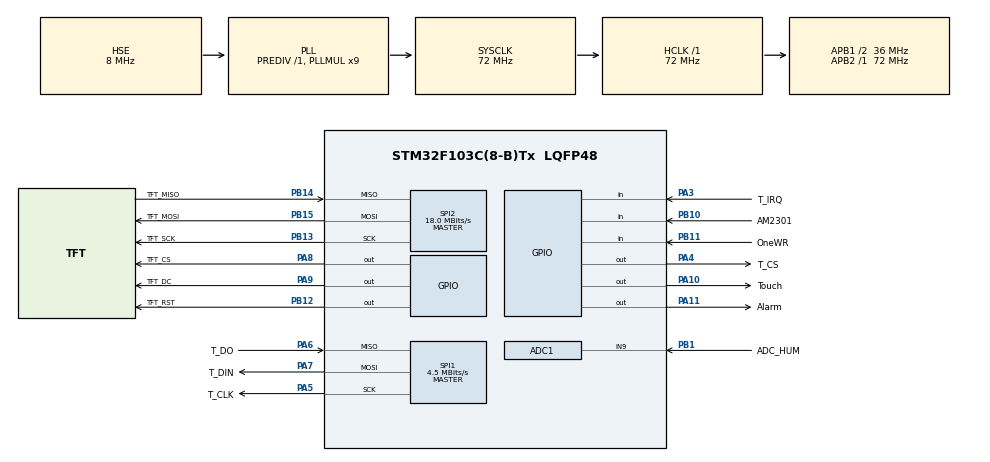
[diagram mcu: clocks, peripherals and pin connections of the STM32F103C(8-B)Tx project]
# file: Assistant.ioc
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Mcu.Family=STM32F1
PA6.Mode=Full_Duplex_Master
SPI1.VirtualType=VM_MASTER
SPI2.VirtualType=VM_MASTER
TIM1.RepetitionCounter=0
PB14.GPIO_Label=TFT_MISO
PA3.GPIO_PuPd=GPIO_PULLUP
VP_RTC_VS_RTC_Activate.Mode=RTC_Enabled
PA6.GPIO_Label=T_DO
NVIC.TIM1_UP_IRQn=true\:0\:0\:false\:false\:true\:true\:true
PB13.GPIO_Label=TFT_SCK
PB11.Signal=GPIO_Input
PB13.Signal=SPI2_SCK
PB15.Signal=SPI2_MOSI
RCC.SYSCLKSource=RCC_SYSCLKSOURCE_PLLCLK
ProjectManager.StackSize=0x400
PD1-OSC_OUT.Signal=RCC_OSC_OUT
NVIC.RTC_IRQn=true\:0\:0\:false\:false\:true\:true\:true
TIM1.Prescaler=719
SPI1.Direction=SPI_DIRECTION_2LINES
RCC.HCLKFreq_Value=72000000
RCC.APB2TimFreq_Value=72000000
PB12.PinState=GPIO_PIN_RESET
SPI1.CalculateBaudRate=4.5 MBits/s
RCC.AHBFreq_Value=72000000
SPI2.BaudRatePrescaler=SPI_BAUDRATEPRESCALER_2
ADC1.Channel-0\#ChannelRegularConversion=ADC_CHANNEL_9
RCC.RTCClockSelection=RCC_RTCCLKSOURCE_LSE
RCC.PLLMUL=RCC_PLL_MUL9
PA4.GPIO_Speed=GPIO_SPEED_FREQ_HIGH
PB12.GPIO_Label=TFT_RST
PC14-OSC32_IN.Mode=LSE-External-Oscillator
PA14.Mode=Serial_Wire
PB14.Mode=Full_Duplex_Master
PB1.GPIO_Label=ADC_HUM
NVIC.TIM2_IRQn=true\:0\:0\:false\:false\:true\:true\:true
PA10.GPIO_Label=Touch
SPI2.CalculateBaudRate=18.0 MBits/s
PA8.Signal=GPIO_Output
VP_TIM1_VS_ClockSourceINT.Mode=Internal
ADC1.SamplingTime-0\#ChannelRegularConversion=ADC_SAMPLETIME_239CYCLES_5
Mcu.Package=LQFP48
TIM2.Prescaler=1999
PB1.Signal=ADCx_IN9
PA6.Signal=SPI1_MISO
SPI2.Mode=SPI_MODE_MASTER
PA10.Signal=GPIO_Output
SH.ADCx_IN9.0=ADC1_IN9,IN9
TIM2.TIM_MasterOutputTrigger=TIM_TRGO_UPDATE
RCC.APB1TimFreq_Value=72000000
SPI2.Direction=SPI_DIRECTION_2LINES
TIM1.Period=999
PB13.Mode=Full_Duplex_Master
SPI1.BaudRatePrescaler=SPI_BAUDRATEPRESCALER_16
PA4.GPIO_Label=T_CS
PA8.GPIO_Speed=GPIO_SPEED_FREQ_HIGH
PA3.Signal=GPIO_Input
PA5.Mode=Full_Duplex_Master
RCC.PLLSourceVirtual=RCC_PLLSOURCE_HSE
PC15-OSC32_OUT.Mode=LSE-External-Oscillator
ADC1.Rank-0\#ChannelRegularConversion=1
PA7.Mode=Full_Duplex_Master
PD1-OSC_OUT.Mode=HSE-External-Oscillator
PA9.GPIO_Label=TFT_DC
PB11.GPIO_Label=OneWR
PA11.GPIO_Label=Alarm
PD0-OSC_IN.Signal=RCC_OSC_IN
RCC.APB1CLKDivider=RCC_HCLK_DIV2
PC14-OSC32_IN.Signal=RCC_OSC32_IN
RCC.ADCPresc=RCC_ADCPCLK2_DIV6
PA13.Signal=SYS_JTMS-SWDIO
PA8.GPIO_Label=TFT_CS
PA4.PinState=GPIO_PIN_SET
ProjectManager.TargetToolchain=MDK-ARM V5
PB10.GPIO_Label=AM2301
PA9.Signal=GPIO_Output
PA9.PinState=GPIO_PIN_RESET
RTC.Format=RTC_FORMAT_BIN
RCC.USBFreq_Value=72000000
PC15-OSC32_OUT.Signal=RCC_OSC32_OUT
PB12.GPIO_Speed=GPIO_SPEED_FREQ_HIGH
PD0-OSC_IN.Mode=HSE-External-Oscillator
PB10.Signal=GPIO_Input
PB14.Signal=SPI2_MISO
PA5.Signal=SPI1_SCK
board=custom
PB15.Mode=Full_Duplex_Master
RCC.APB2Freq_Value=72000000
PB15.GPIO_Label=TFT_MOSI
VP_TIM2_VS_ClockSourceINT.Mode=Internal
SPI1.Mode=SPI_MODE_MASTER
TIM2.Period=7199
PA13.Mode=Serial_Wire
Mcu.Name=STM32F103C(8-B)Tx
PA4.Signal=GPIO_Output
RCC.SYSCLKFreq_VALUE=72000000
PA7.GPIO_Label=T_DIN
ADC1.master=1
PA5.GPIO_Label=T_CLK
PA11.Signal=GPIO_Output
PA14.Signal=SYS_JTCK-SWCLK
ProjectManager.HeapSize=0x200
NVIC.PriorityGroup=NVIC_PRIORITYGROUP_4
ADC1.NbrOfConversionFlag=1
PA9.GPIO_Speed=GPIO_SPEED_FREQ_HIGH
RCC.APB1Freq_Value=36000000
PA11.PinState=GPIO_PIN_SET
PB12.Signal=GPIO_Output
PA3.GPIO_Label=T_IRQ
PA7.Signal=SPI1_MOSI

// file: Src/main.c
/* USER CODE BEGIN Header */
/**
  ******************************************************************************
  * @file           : main.c
  * @brief          : Main program body
  ******************************************************************************
  * @attention
  *
  * <h2><center>&copy; Copyright (c) 2023 STMicroelectronics.
  * All rights reserved.</center></h2>
  *
  * This software component is licensed by ST under BSD 3-Clause license,
  * the "License"; You may not use this file except in compliance with the
  * License. You may obtain a copy of the License at:
  *                        opensource.org/licenses/BSD-3-Clause
  *
  ******************************************************************************
  */
/* USER CODE END Header */

#include "main.h"

/* USER CODE BEGIN Includes */
#include <stdio.h>
#include <stdlib.h>
#include "tft_proc.h"
#include "ili9341_touch.h"
#include "ds18b20.h"
#include "displ_as.h"
#include "displ_adc.h"
#include "buttons.h"
#include "my.h"
/* USER CODE END Includes */

ADC_HandleTypeDef hadc1;

RTC_HandleTypeDef hrtc;

SPI_HandleTypeDef hspi1;
SPI_HandleTypeDef hspi2;

TIM_HandleTypeDef htim1;
TIM_HandleTypeDef htim2;

/* USER CODE BEGIN PV */
const float A1=1.6, A2=0.64, A3=0.04;  // a=0.8 (A1=2a; A2=a^2; A3=(1-a)^2)
char txt[10], buffTFT[60];
volatile uint8_t displ_num=0, newButt=1, ticTimer, ticTouch, show, showADC, Y_txt=5, X_left=5, Y_top, Y_bottom=ILI9341_HEIGHT-22, buttonAmount, secTick, scale=1;
uint8_t noname, fc20H, fc28H, familycode[MAX_DEVICE][8]={0};
int8_t oneWire_amount, dht_amount, ds18b20_num, ds2450_num, numSet=0, numDate=0, newDate=0;
volatile int8_t resetDispl=0;
int8_t newcorrection, correction[MAX_DEVICE];
int16_t result[MAX_DEVICE]={199}, max_t, min_t, midl_t, val_t, pvT, pvRH;
uint16_t touch_x, touch_y;
uint16_t fillScreen = ILI9341_BLACK;
extern uint16_t prescale;
uint32_t checkButt;
float PVold1, PVold2;
struct ram_structure {int x,y; char w,h;} buttons[4];
/* USER CODE END PV */

void SystemClock_Config(void);
static void MX_GPIO_Init(void);
static void MX_SPI2_Init(void);
static void MX_SPI1_Init(void);
static void MX_TIM1_Init(void);
static void MX_RTC_Init(void);
static void MX_ADC1_Init(void);
static void MX_TIM2_Init(void);
/* USER CODE BEGIN PFP */
void home_screen(void);
/* USER CODE END PFP */

/* USER CODE BEGIN 0 */
void HAL_TIM_PeriodElapsedCallback(TIM_HandleTypeDef *htim){
  if(htim->Instance == TIM1){ //check if the interrupt comes from TIM1 (10 ms)
    checkButt++;
    if (ticTouch){ --ticTouch; HAL_GPIO_WritePin(Touch_GPIO_Port, Touch_Pin, GPIO_PIN_SET);}// pressure indication
    else {HAL_GPIO_WritePin(Touch_GPIO_Port, Touch_Pin, GPIO_PIN_RESET);}
//    if (ticTimer){ --ticTimer;
//      if (set[3]&1) HAL_GPIO_WritePin(Alarm_GPIO_Port, Alarm_Pin, GPIO_PIN_SET); // turn on the alarm
//    }
//    else HAL_GPIO_WritePin(Alarm_GPIO_Port, Alarm_Pin, GPIO_PIN_RESET);
  }
  if(htim->Instance == TIM1){
    if(prescale){__HAL_TIM_SET_PRESCALER(&htim2, prescale); prescale = 0;}
  }
}
uint16_t LowPassF2(uint16_t pv){
float val;
  val = A1*PVold1-A2*PVold2+A3*pv;
  PVold2 = PVold1;
  PVold1 = val;
  return val;
};
/* USER CODE END 0 */

int main(void)
{

  /* MCU Configuration--------------------------------------------------------*/

  /* Reset of all peripherals, Initializes the Flash interface and the Systick. */
  HAL_Init();

  /* Configure the system clock */
  SystemClock_Config();

  /* Initialize all configured peripherals */
  MX_GPIO_Init();
  MX_SPI2_Init();
  MX_SPI1_Init();
  MX_TIM1_Init();
  MX_RTC_Init();
  MX_ADC1_Init();
  MX_TIM2_Init();
  /* USER CODE BEGIN 2 */
  //----------------------------------------------------------------------------
  // Инициализация модуля DWT (Data Watchpoint and Trace) для STM32.
  // Используется для организации сверхточных микросекундных задержек через
  // аппаратный счетчик тактов процессора (CYCCNT). Это критически важно для
  // соблюдения таймингов протокола 1-Wire (DS18B20).
  //----------------------------------------------------------------------------
  CoreDebug->DEMCR |= CoreDebug_DEMCR_TRCENA_Msk; // Разрешаем использование Trace-модуля
  DWT->CYCCNT = 0;                                // Сброс счетчика
  DWT->CTRL |= DWT_CTRL_CYCCNTENA_Msk;            // Включаем счетчик циклов

  //-------------------------------------   -----------
  uint8_t item;
  uint16_t adcVal;
  float uVal;
//------------------------------------- Triggering interrupts -----------
  HAL_TIM_Base_Start_IT(&htim1);          /* ------  Timer 100 Hz. Period 10 ms.  ----*/
  HAL_TIM_Base_Start_IT(&htim2);          /* ------  Timer 5 Hz. Period 200 ms.  ----*/
  HAL_RTCEx_SetSecond_IT(&hrtc);          // Sets Interrupt for second
  HAL_ADCEx_Calibration_Start(&hadc1);    // ADC calibration
//  HAL_GPIO_WritePin(GPIOA, Alarm_Pin, GPIO_PIN_SET);  // LED_PC13=OFF

  TFT_init();
  home_screen();                      // checking connected sensors
  ILI9341_FillScreen(fillScreen);     // Screen cleaning
  /* USER CODE END 2 */

  /* Infinite loop */
  /* USER CODE BEGIN WHILE */
  secTick = 0;
  show = 0;
//  MX_IWDG_Init();                 // initialization Watchdog (3 sec.)
  while (1){
//    HAL_IWDG_Refresh(&hiwdg);     // update Watchdog
    Y_txt = 5; X_left = 5;        // Y_top = Y_txt;
    if(fc20H){                    // DS2450
        //------------------------------------- TOUCHSCREEN ---------------------------
        if (ILI9341_TouchPressed()&& checkButt>40){
//          ILI9341_WriteString(X_left, Y_bottom - 22, "TouchPressed!", Font_11x18, ILI9341_MAGENTA, fillScreen);
          if(ILI9341_TouchGetCoordinates(&touch_x, &touch_y)){
              for (item=0; item<buttonAmount; item++){
                  if(contains(touch_x, touch_y, item)) break; // checking whether the new coordinate falls within the button area
              }
              checkButtons_ADC(item); // button press check
              displADC();     // display of ADC information
          }
          checkButt = 0;
        }
        if(showADC){
            showADC = 0;
            DS2450_check();
            displADC();     // display of ADC information
        }
    }
    else if(show){
        show = 0;
//        HAL_GPIO_TogglePin(GPIOA, Alarm_Pin);  // LED_PC13=TogglePin
        if(fc28H){                        // DS18b20
            //------------------------------------- TOUCHSCREEN ---------------------------
            if(ILI9341_TouchPressed()&& checkButt>40){
              //ILI9341_WriteString(X_left, Y_bottom - 22, "TouchPressed!", Font_11x18, ILI9341_MAGENTA, fillScreen);
              if(ILI9341_TouchGetCoordinates(&touch_x, &touch_y)){
                  for (item=0; item<buttonAmount; item++){
                      if(contains(touch_x, touch_y, item)) break; // checking whether the new coordinate falls within the button area
                  }
                  checkButtons_as(item); // button press check
                  if (displ_num) resetDispl=60; else resetDispl = 0;
              }
              checkButt = 0;
            }
            //------------------------------------- MAIN screen ---------------------------
            //-------- show, secTick are changed in function handles RTC global interrupt -> {void RTC_IRQHandler(void)} in file "stm32f1xx_it.c"
            temperature_check();  // temperature measurement
            display_as();         // display of information
        }
        else {
            item = readDHT(0);        // DHT-21 connected by line 1 Wire
            if(item){
                sprintf(buffTFT,"1Wt=%.1f  Rh=%.1f%% ",(float)pvT/10,(float)pvRH/10);
                ILI9341_WriteString(5, Y_txt, buffTFT, Font_16x26, ILI9341_CYAN, ILI9341_BLACK);
                Y_txt = Y_txt+26+8;
            }
        }
        if(fc28H < 9 && displ_num == 0){
            item = readDHT(1);            // DHT-21 connected by line AM2301
            if (item){
              sprintf(buffTFT,"Amt=%.1f  Rh=%.1f%% ",(float)pvT/10,(float)pvRH/10);
              ILI9341_WriteString(5, Y_txt, buffTFT, Font_16x26, ILI9341_CYAN, ILI9341_BLACK);
              Y_txt = Y_txt+26+8;
            }
            HAL_ADC_Start(&hadc1);
            HAL_ADC_PollForConversion(&hadc1,100);
            adcVal = ((float)HAL_ADC_GetValue(&hadc1));
            HAL_ADC_Stop(&hadc1);
            uVal = (float)adcVal*VSENSE;
            if(X_left>100){Y_txt = Y_txt+26+8; X_left=5;}
            if (adcVal > 500){
              if (PVold1==0) PVold2 = PVold1 = adcVal;
              else adcVal = LowPassF2(adcVal);

              if (uVal > 0.8) sprintf(buffTFT,"V=%.3f   RH=%.1f%% ",uVal,(uVal/VSUPPLY-0.1515)/0.00636);
              else sprintf(buffTFT,"V=%.3f   RH=0%%  ",uVal);
              ILI9341_WriteString(5, Y_txt, buffTFT, Font_16x26, ILI9341_CYAN, ILI9341_BLACK);
            }
//            else if(adcVal > 0) {
//              sprintf(buffTFT,"ADC=%4u  V=%.3f",adcVal, uVal);
//              ILI9341_WriteString(5, Y_txt, buffTFT, Font_16x26, ILI9341_CYAN, ILI9341_BLACK);
//            }
            else {
              ILI9341_WriteString(5, Y_txt, "                   ", Font_16x26, ILI9341_CYAN, ILI9341_BLACK);
            }
            if(fc28H==0){
              ILI9341_FillRectangle(42, 98, 100, 22, ILI9341_BLACK);
              ILI9341_WriteString(45, 100, "Датчикыв не знайдено!", Font_11x18, ILI9341_RED, ILI9341_BLACK);
              Y_txt = Y_txt+18+5;
              HAL_Delay(700);
              ILI9341_FillScreen(fillScreen);
              oneWire_count(MAX_DEVICE);       // We check for the presence of sensors; if item = 0, sensors are found.
              if(fc28H) newButt = 1;
            }
        }
    }
    /* USER CODE END WHILE */

  }
}

void SystemClock_Config(void)
{
  RCC_OscInitTypeDef RCC_OscInitStruct = {0};
  RCC_ClkInitTypeDef RCC_ClkInitStruct = {0};
  RCC_PeriphCLKInitTypeDef PeriphClkInit = {0};

  /** Initializes the CPU, AHB and APB busses clocks
  */
  RCC_OscInitStruct.OscillatorType = RCC_OSCILLATORTYPE_HSE|RCC_OSCILLATORTYPE_LSE;
  RCC_OscInitStruct.HSEState = RCC_HSE_ON;
  RCC_OscInitStruct.HSEPredivValue = RCC_HSE_PREDIV_DIV1;
  RCC_OscInitStruct.LSEState = RCC_LSE_ON;
  RCC_OscInitStruct.HSIState = RCC_HSI_ON;
  RCC_OscInitStruct.PLL.PLLState = RCC_PLL_ON;
  RCC_OscInitStruct.PLL.PLLSource = RCC_PLLSOURCE_HSE;
  RCC_OscInitStruct.PLL.PLLMUL = RCC_PLL_MUL9;
  if (HAL_RCC_OscConfig(&RCC_OscInitStruct) != HAL_OK)
  {
    Error_Handler();
  }
  /** Initializes the CPU, AHB and APB busses clocks
  */
  RCC_ClkInitStruct.ClockType = RCC_CLOCKTYPE_HCLK|RCC_CLOCKTYPE_SYSCLK
                              |RCC_CLOCKTYPE_PCLK1|RCC_CLOCKTYPE_PCLK2;
  RCC_ClkInitStruct.SYSCLKSource = RCC_SYSCLKSOURCE_PLLCLK;
  RCC_ClkInitStruct.AHBCLKDivider = RCC_SYSCLK_DIV1;
  RCC_ClkInitStruct.APB1CLKDivider = RCC_HCLK_DIV2;
  RCC_ClkInitStruct.APB2CLKDivider = RCC_HCLK_DIV1;

  if (HAL_RCC_ClockConfig(&RCC_ClkInitStruct, FLASH_LATENCY_2) != HAL_OK)
  {
    Error_Handler();
  }
  PeriphClkInit.PeriphClockSelection = RCC_PERIPHCLK_RTC|RCC_PERIPHCLK_ADC;
  PeriphClkInit.RTCClockSelection = RCC_RTCCLKSOURCE_LSE;
  PeriphClkInit.AdcClockSelection = RCC_ADCPCLK2_DIV6;
  if (HAL_RCCEx_PeriphCLKConfig(&PeriphClkInit) != HAL_OK)
  {
    Error_Handler();
  }
}

static void MX_ADC1_Init(void)
{

  ADC_ChannelConfTypeDef sConfig = {0};

  /** Common config
  */
  hadc1.Instance = ADC1;
  hadc1.Init.ScanConvMode = ADC_SCAN_DISABLE;
  hadc1.Init.ContinuousConvMode = DISABLE;
  hadc1.Init.DiscontinuousConvMode = DISABLE;
  hadc1.Init.ExternalTrigConv = ADC_SOFTWARE_START;
  hadc1.Init.DataAlign = ADC_DATAALIGN_RIGHT;
  hadc1.Init.NbrOfConversion = 1;
  if (HAL_ADC_Init(&hadc1) != HAL_OK)
  {
    Error_Handler();
  }
  /** Configure Regular Channel
  */
  sConfig.Channel = ADC_CHANNEL_9;
  sConfig.Rank = ADC_REGULAR_RANK_1;
  sConfig.SamplingTime = ADC_SAMPLETIME_239CYCLES_5;
  if (HAL_ADC_ConfigChannel(&hadc1, &sConfig) != HAL_OK)
  {
    Error_Handler();
  }

}

static void MX_RTC_Init(void)
{

  /** Initialize RTC Only
  */
  hrtc.Instance = RTC;
  hrtc.Init.AsynchPrediv = RTC_AUTO_1_SECOND;
  hrtc.Init.OutPut = RTC_OUTPUTSOURCE_ALARM;
  if (HAL_RTC_Init(&hrtc) != HAL_OK)
  {
    Error_Handler();
  }

}

static void MX_SPI1_Init(void)
{

  /* SPI1 parameter configuration*/
  hspi1.Instance = SPI1;
  hspi1.Init.Mode = SPI_MODE_MASTER;
  hspi1.Init.Direction = SPI_DIRECTION_2LINES;
  hspi1.Init.DataSize = SPI_DATASIZE_8BIT;
  hspi1.Init.CLKPolarity = SPI_POLARITY_LOW;
  hspi1.Init.CLKPhase = SPI_PHASE_1EDGE;
  hspi1.Init.NSS = SPI_NSS_SOFT;
  hspi1.Init.BaudRatePrescaler = SPI_BAUDRATEPRESCALER_16;
  hspi1.Init.FirstBit = SPI_FIRSTBIT_MSB;
  hspi1.Init.TIMode = SPI_TIMODE_DISABLE;
  hspi1.Init.CRCCalculation = SPI_CRCCALCULATION_DISABLE;
  hspi1.Init.CRCPolynomial = 10;
  if (HAL_SPI_Init(&hspi1) != HAL_OK)
  {
    Error_Handler();
  }

}

static void MX_SPI2_Init(void)
{

  /* SPI2 parameter configuration*/
  hspi2.Instance = SPI2;
  hspi2.Init.Mode = SPI_MODE_MASTER;
  hspi2.Init.Direction = SPI_DIRECTION_2LINES;
  hspi2.Init.DataSize = SPI_DATASIZE_8BIT;
  hspi2.Init.CLKPolarity = SPI_POLARITY_LOW;
  hspi2.Init.CLKPhase = SPI_PHASE_1EDGE;
  hspi2.Init.NSS = SPI_NSS_SOFT;
  hspi2.Init.BaudRatePrescaler = SPI_BAUDRATEPRESCALER_2;
  hspi2.Init.FirstBit = SPI_FIRSTBIT_MSB;
  hspi2.Init.TIMode = SPI_TIMODE_DISABLE;
  hspi2.Init.CRCCalculation = SPI_CRCCALCULATION_DISABLE;
  hspi2.Init.CRCPolynomial = 10;
  if (HAL_SPI_Init(&hspi2) != HAL_OK)
  {
    Error_Handler();
  }

}

static void MX_TIM1_Init(void)
{

  TIM_ClockConfigTypeDef sClockSourceConfig = {0};
  TIM_MasterConfigTypeDef sMasterConfig = {0};

  htim1.Instance = TIM1;
  htim1.Init.Prescaler = 719;
  htim1.Init.CounterMode = TIM_COUNTERMODE_UP;
  htim1.Init.Period = 999;
  htim1.Init.ClockDivision = TIM_CLOCKDIVISION_DIV1;
  htim1.Init.RepetitionCounter = 0;
  htim1.Init.AutoReloadPreload = TIM_AUTORELOAD_PRELOAD_DISABLE;
  if (HAL_TIM_Base_Init(&htim1) != HAL_OK)
  {
    Error_Handler();
  }
  sClockSourceConfig.ClockSource = TIM_CLOCKSOURCE_INTERNAL;
  if (HAL_TIM_ConfigClockSource(&htim1, &sClockSourceConfig) != HAL_OK)
  {
    Error_Handler();
  }
  sMasterConfig.MasterOutputTrigger = TIM_TRGO_RESET;
  sMasterConfig.MasterSlaveMode = TIM_MASTERSLAVEMODE_DISABLE;
  if (HAL_TIMEx_MasterConfigSynchronization(&htim1, &sMasterConfig) != HAL_OK)
  {
    Error_Handler();
  }

}

static void MX_TIM2_Init(void)
{

  TIM_ClockConfigTypeDef sClockSourceConfig = {0};
  TIM_MasterConfigTypeDef sMasterConfig = {0};

  htim2.Instance = TIM2;
  htim2.Init.Prescaler = 1999;
  htim2.Init.CounterMode = TIM_COUNTERMODE_UP;
  htim2.Init.Period = 7199;
  htim2.Init.ClockDivision = TIM_CLOCKDIVISION_DIV1;
  htim2.Init.AutoReloadPreload = TIM_AUTORELOAD_PRELOAD_DISABLE;
  if (HAL_TIM_Base_Init(&htim2) != HAL_OK)
  {
    Error_Handler();
  }
  sClockSourceConfig.ClockSource = TIM_CLOCKSOURCE_INTERNAL;
  if (HAL_TIM_ConfigClockSource(&htim2, &sClockSourceConfig) != HAL_OK)
  {
    Error_Handler();
  }
  sMasterConfig.MasterOutputTrigger = TIM_TRGO_UPDATE;
  sMasterConfig.MasterSlaveMode = TIM_MASTERSLAVEMODE_DISABLE;
  if (HAL_TIMEx_MasterConfigSynchronization(&htim2, &sMasterConfig) != HAL_OK)
  {
    Error_Handler();
  }

}

static void MX_GPIO_Init(void)
{
  GPIO_InitTypeDef GPIO_InitStruct = {0};

  /* GPIO Ports Clock Enable */
  __HAL_RCC_GPIOC_CLK_ENABLE();
  __HAL_RCC_GPIOD_CLK_ENABLE();
  __HAL_RCC_GPIOA_CLK_ENABLE();
  __HAL_RCC_GPIOB_CLK_ENABLE();

  /*Configure GPIO pin Output Level */
  HAL_GPIO_WritePin(GPIOA, T_CS_Pin|Alarm_Pin, GPIO_PIN_SET);

  /*Configure GPIO pin Output Level */
  HAL_GPIO_WritePin(TFT_RST_GPIO_Port, TFT_RST_Pin, GPIO_PIN_RESET);

  /*Configure GPIO pin Output Level */
  HAL_GPIO_WritePin(GPIOA, TFT_CS_Pin|TFT_DC_Pin|Touch_Pin, GPIO_PIN_RESET);

  /*Configure GPIO pin : T_IRQ_Pin */
  GPIO_InitStruct.Pin = T_IRQ_Pin;
  GPIO_InitStruct.Mode = GPIO_MODE_INPUT;
  GPIO_InitStruct.Pull = GPIO_PULLUP;
  HAL_GPIO_Init(T_IRQ_GPIO_Port, &GPIO_InitStruct);

  /*Configure GPIO pins : T_CS_Pin TFT_CS_Pin TFT_DC_Pin */
  GPIO_InitStruct.Pin = T_CS_Pin|TFT_CS_Pin|TFT_DC_Pin;
  GPIO_InitStruct.Mode = GPIO_MODE_OUTPUT_PP;
  GPIO_InitStruct.Pull = GPIO_NOPULL;
  GPIO_InitStruct.Speed = GPIO_SPEED_FREQ_HIGH;
  HAL_GPIO_Init(GPIOA, &GPIO_InitStruct);

  /*Configure GPIO pins : AM2301_Pin OneWR_Pin */
  GPIO_InitStruct.Pin = AM2301_Pin|OneWR_Pin;
  GPIO_InitStruct.Mode = GPIO_MODE_INPUT;
  GPIO_InitStruct.Pull = GPIO_NOPULL;
  HAL_GPIO_Init(GPIOB, &GPIO_InitStruct);

  /*Configure GPIO pin : TFT_RST_Pin */
  GPIO_InitStruct.Pin = TFT_RST_Pin;
  GPIO_InitStruct.Mode = GPIO_MODE_OUTPUT_PP;
  GPIO_InitStruct.Pull = GPIO_NOPULL;
  GPIO_InitStruct.Speed = GPIO_SPEED_FREQ_HIGH;
  HAL_GPIO_Init(TFT_RST_GPIO_Port, &GPIO_InitStruct);

  /*Configure GPIO pins : Touch_Pin Alarm_Pin */
  GPIO_InitStruct.Pin = Touch_Pin|Alarm_Pin;
  GPIO_InitStruct.Mode = GPIO_MODE_OUTPUT_PP;
  GPIO_InitStruct.Pull = GPIO_NOPULL;
  GPIO_InitStruct.Speed = GPIO_SPEED_FREQ_LOW;
  HAL_GPIO_Init(GPIOA, &GPIO_InitStruct);

}

void Error_Handler(void)
{
}

/************************ (C) COPYRIGHT STMicroelectronics *****END OF FILE****/
